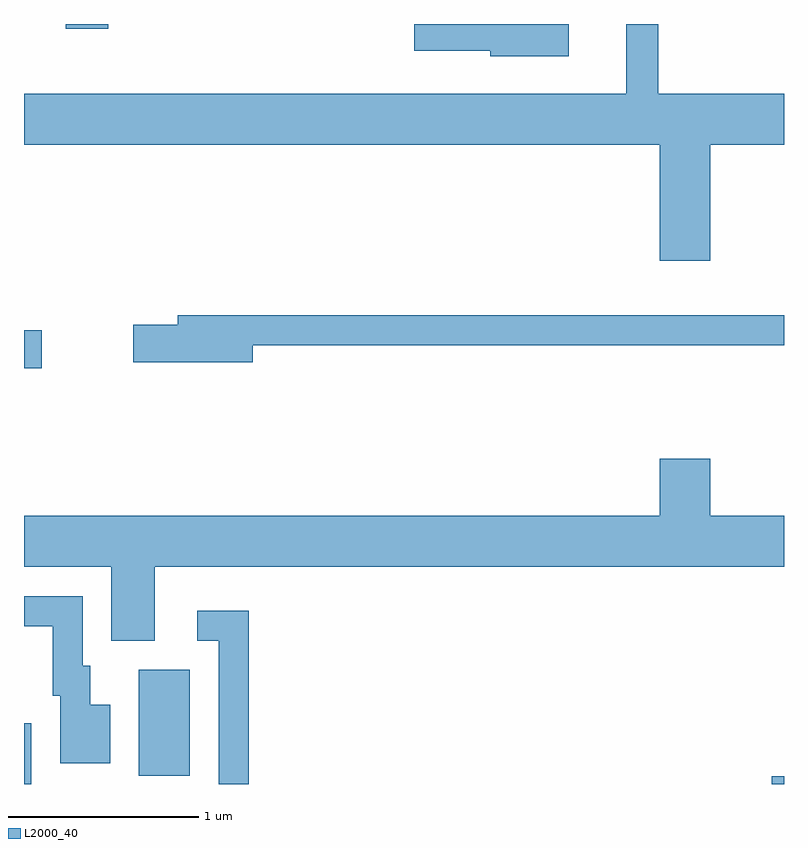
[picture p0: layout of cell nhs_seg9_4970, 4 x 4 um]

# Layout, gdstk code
import gdstk
lib = gdstk.Library(unit=1e-6, precision=1e-09)
def R(c, l, rs):  # rectangles x0, y0, x1, y1
    for r in rs: c.add(gdstk.rectangle(r[:2], r[2:], *l))
def P(c, l, *ps):  # polygons
    for p in ps: c.add(gdstk.Polygon(p, *l))
L2000_40 = (2000, 40)

nhs_seg9_4970 = lib.new_cell('nhs_seg9_4970')
R(nhs_seg9_4970, L2000_40, [(331.611,2008.432,331.649,2008.753), (335.546,2008.432,335.611,2008.474), (332.216,2008.476,332.484,2009.034), (331.611,2010.621,331.704,2010.819), (331.831,2012.406,332.054,2012.432)])
P(nhs_seg9_4970, L2000_40, [(334.479,2012.432),(333.666,2012.432),(333.666,2012.291),(334.066,2012.291),(334.066,2012.261),(334.479,2012.261)],
  [(335.224,2011.796),(335.611,2011.796),(335.611,2012.064),(334.949,2012.064),(334.949,2012.432),(334.781,2012.432),(334.781,2012.064),(331.611,2012.064),(331.611,2011.796),(334.956,2011.796),(334.956,2011.186),(335.224,2011.186)],
  [(332.814,2010.741),(335.611,2010.741),(335.611,2010.899),(332.421,2010.899),(332.421,2010.849),(332.186,2010.849),(332.186,2010.651),(332.814,2010.651)],
  [(331.611,2009.576),(332.071,2009.576),(332.071,2009.186),(332.299,2009.186),(332.299,2009.576),(335.611,2009.576),(335.611,2009.844),(335.224,2009.844),(335.224,2010.144),(334.956,2010.144),(334.956,2009.844),(331.611,2009.844)],
  [(332.064,2008.849),(331.959,2008.849),(331.959,2009.054),(331.919,2009.054),(331.919,2009.419),(331.611,2009.419),(331.611,2009.261),(331.761,2009.261),(331.761,2008.896),(331.801,2008.896),(331.801,2008.541),(332.064,2008.541)],
  [(332.794,2009.344),(332.523,2009.344),(332.523,2009.186),(332.636,2009.186),(332.636,2008.432),(332.794,2008.432)])

lib.write_gds('nhs_seg9_4970.gds')
